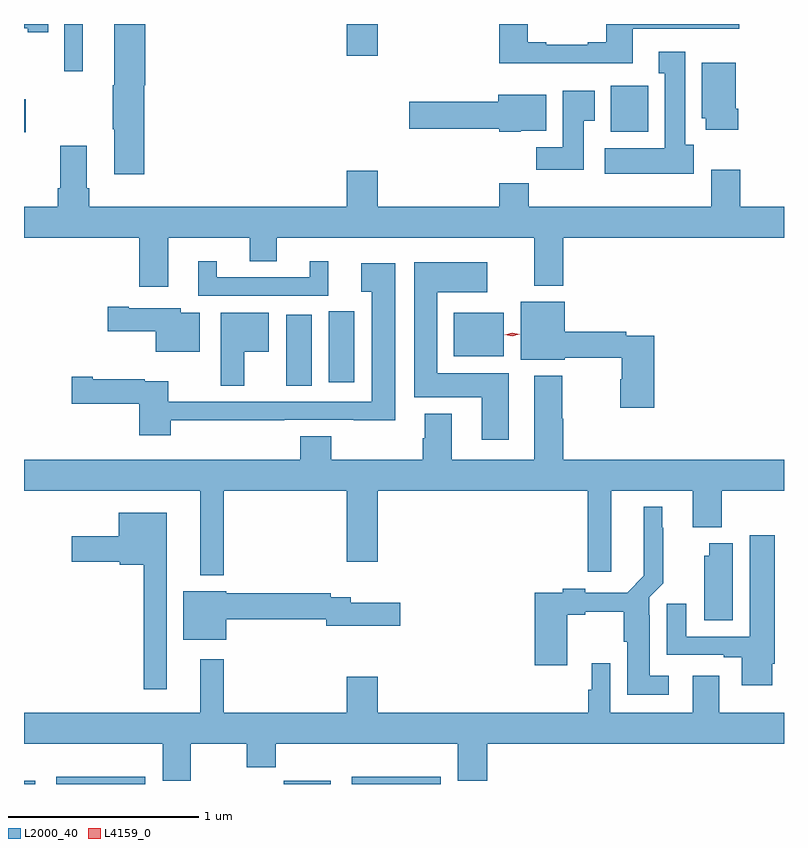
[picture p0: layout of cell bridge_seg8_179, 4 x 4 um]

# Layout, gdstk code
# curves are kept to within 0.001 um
import gdstk
lib = gdstk.Library(unit=1e-6, precision=1e-09)
def R(c, l, rs):  # rectangles x0, y0, x1, y1
    for r in rs: c.add(gdstk.rectangle(r[:2], r[2:], *l))
def P(c, l, *ps):  # polygons
    for p in ps: c.add(gdstk.Polygon(p, *l))
L2000_40 = (2000, 40)
L4159_0 = (4159, 0)

bridge_seg8_179 = lib.new_cell('bridge_seg8_179')
R(bridge_seg8_179, L2000_40, [(486.985,1096.309,487.045,1096.327), (487.155,1096.309,487.624,1096.348), (488.351,1096.309,488.599,1096.326), (488.709,1096.309,489.178,1096.348), (488.366,1098.406,488.5,1098.778), (488.588,1098.423,488.722,1098.798), (489.248,1098.56,489.511,1098.79), (486.985,1099.739,486.994,1099.913), (490.073,1099.742,490.27,1099.984), (487.197,1100.061,487.294,1100.309), (488.684,1100.142,488.848,1100.309)])
P(bridge_seg8_179, L2000_40, [(490.189,1100.283),(490.75,1100.283),(490.75,1100.309),(490.049,1100.309),(490.049,1100.212),(489.953,1100.212),(489.953,1100.199),(489.733,1100.199),(489.733,1100.212),(489.637,1100.212),(489.637,1100.309),(489.485,1100.309),(489.485,1100.102),(490.189,1100.102)],
  [(487.619,1099.986),(487.624,1099.986),(487.624,1100.309),(487.46,1100.309),(487.46,1099.986),(487.453,1099.986),(487.453,1099.756),(487.46,1099.756),(487.46,1099.518),(487.619,1099.518)],
  [(487.112,1100.309),(486.985,1100.309),(486.985,1100.286),(487.004,1100.286),(487.004,1100.266),(487.112,1100.266)],
  [(490.51,1099.674),(490.465,1099.674),(490.465,1100.164),(490.325,1100.164),(490.325,1100.051),(490.358,1100.051),(490.358,1099.654),(490.041,1099.654),(490.041,1099.52),(490.51,1099.52)],
  [(490.745,1099.864),(490.732,1099.864),(490.732,1100.104),(490.553,1100.104),(490.553,1099.812),(490.574,1099.812),(490.574,1099.752),(490.745,1099.752)],
  [(489.931,1099.801),(489.988,1099.801),(489.988,1099.957),(489.821,1099.957),(489.821,1099.66),(489.682,1099.66),(489.682,1099.542),(489.931,1099.542)],
  [(489.6,1099.748),(489.733,1099.748),(489.733,1099.936),(489.482,1099.936),(489.482,1099.901),(489.012,1099.901),(489.012,1099.759),(489.486,1099.759),(489.486,1099.742),(489.6,1099.742)],
  [(487.744,1099.184),(488.174,1099.184),(488.174,1099.06),(488.314,1099.06),(488.314,1099.184),(489.671,1099.184),(489.671,1098.932),(489.824,1098.932),(489.824,1099.184),(490.985,1099.184),(490.985,1099.348),(490.754,1099.348),(490.754,1099.543),(490.601,1099.543),(490.601,1099.348),(489.641,1099.348),(489.641,1099.472),(489.485,1099.472),(489.485,1099.348),(488.848,1099.348),(488.848,1099.537),(488.684,1099.537),(488.684,1099.348),(487.328,1099.348),(487.328,1099.444),(487.315,1099.444),(487.315,1099.669),(487.175,1099.669),(487.175,1099.444),(487.163,1099.444),(487.163,1099.348),(486.985,1099.348),(486.985,1099.184),(487.592,1099.184),(487.592,1098.927),(487.744,1098.927)],
  [(488.587,1099.06),(488.489,1099.06),(488.489,1098.975),(487.999,1098.975),(487.999,1099.06),(487.901,1099.06),(487.901,1098.879),(488.587,1098.879)],
  [(489.535,1098.472),(489.16,1098.472),(489.16,1098.896),(489.424,1098.896),(489.424,1099.054),(489.038,1099.054),(489.038,1098.344),(489.395,1098.344),(489.395,1098.12),(489.535,1098.12)],
  [(487.757,1098.224),(488.354,1098.224),(488.354,1098.225),(488.72,1098.225),(488.72,1098.224),(488.938,1098.224),(488.938,1099.051),(488.76,1099.051),(488.76,1098.899),(488.816,1098.899),(488.816,1098.321),(487.744,1098.321),(487.744,1098.43),(487.62,1098.43),(487.62,1098.439),(487.348,1098.439),(487.348,1098.452),(487.236,1098.452),(487.236,1098.31),(487.592,1098.31),(487.592,1098.144),(487.757,1098.144)],
  [(490.301,1098.669),(490.154,1098.669),(490.154,1098.689),(489.832,1098.689),(489.832,1098.847),(489.599,1098.847),(489.599,1098.542),(489.832,1098.542),(489.832,1098.553),(490.13,1098.553),(490.13,1098.438),(490.123,1098.438),(490.123,1098.288),(490.301,1098.288)],
  [(487.909,1098.79),(487.809,1098.79),(487.809,1098.814),(487.537,1098.814),(487.537,1098.822),(487.425,1098.822),(487.425,1098.692),(487.679,1098.692),(487.679,1098.584),(487.909,1098.584)],
  [(488.143,1098.584),(488.272,1098.584),(488.272,1098.79),(488.021,1098.79),(488.021,1098.406),(488.143,1098.406)],
  [(488.035,1097.852),(488.684,1097.852),(488.684,1097.478),(488.848,1097.478),(488.848,1097.852),(489.953,1097.852),(489.953,1097.427),(490.075,1097.427),(490.075,1097.852),(490.505,1097.852),(490.505,1097.66),(490.658,1097.66),(490.658,1097.852),(490.985,1097.852),(490.985,1098.016),(489.824,1098.016),(489.824,1098.231),(489.819,1098.231),(489.819,1098.457),(489.671,1098.457),(489.671,1098.016),(489.235,1098.016),(489.235,1098.259),(489.095,1098.259),(489.095,1098.128),(489.083,1098.128),(489.083,1098.016),(488.603,1098.016),(488.603,1098.14),(488.438,1098.14),(488.438,1098.016),(486.985,1098.016),(486.985,1097.852),(487.913,1097.852),(487.913,1097.408),(488.035,1097.408)],
  [(490.378,1096.879),(490.279,1096.879),(490.279,1097.198),(490.275,1097.198),(490.275,1097.292),(490.349,1097.366),(490.349,1097.657),(490.345,1097.657),(490.345,1097.767),(490.247,1097.767),(490.248,1097.404),(490.16,1097.316),(489.94,1097.316),(489.94,1097.336),(489.82,1097.336),(489.82,1097.316),(489.674,1097.316),(489.674,1096.935),(489.844,1096.935),(489.844,1097.2),(489.94,1097.2),(489.94,1097.215),(490.142,1097.215),(490.142,1097.058),(490.16,1097.058),(490.16,1096.778),(490.378,1096.778)],
  [(487.735,1097.737),(487.484,1097.737),(487.484,1097.614),(487.236,1097.614),(487.236,1097.48),(487.488,1097.48),(487.488,1097.462),(487.614,1097.462),(487.614,1096.809),(487.735,1096.809)],
  [(490.924,1096.942),(490.937,1096.942),(490.937,1097.617),(490.805,1097.617),(490.805,1097.085),(490.471,1097.085),(490.471,1097.257),(490.367,1097.257),(490.367,1096.989),(490.667,1096.989),(490.667,1096.977),(490.763,1096.977),(490.763,1096.83),(490.924,1096.83)],
  [(490.714,1097.575),(490.592,1097.575),(490.592,1097.511),(490.565,1097.511),(490.565,1097.17),(490.714,1097.17)],
  [(488.05,1097.176),(488.576,1097.176),(488.576,1097.141),(488.965,1097.141),(488.965,1097.263),(488.704,1097.263),(488.704,1097.292),(488.6,1097.292),(488.6,1097.312),(488.05,1097.312),(488.05,1097.323),(487.823,1097.323),(487.823,1097.069),(488.05,1097.069)],
  [(487.863,1096.52),(488.158,1096.52),(488.158,1096.396),(488.309,1096.396),(488.309,1096.52),(489.269,1096.52),(489.269,1096.326),(489.422,1096.326),(489.422,1096.52),(490.985,1096.52),(490.985,1096.684),(490.645,1096.684),(490.645,1096.879),(490.505,1096.879),(490.505,1096.684),(490.071,1096.684),(490.071,1096.945),(489.974,1096.945),(489.974,1096.806),(489.955,1096.806),(489.955,1096.684),(488.848,1096.684),(488.848,1096.873),(488.684,1096.873),(488.684,1096.684),(488.035,1096.684),(488.035,1096.966),(487.913,1096.966),(487.913,1096.684),(486.985,1096.684),(486.985,1096.52),(487.715,1096.52),(487.715,1096.326),(487.863,1096.326)])
P(bridge_seg8_179, L4159_0, [(489.554,1098.665),(489.516,1098.674),(489.516,1098.674),(489.516,1098.674),(489.554,1098.685),(489.593,1098.676),(489.593,1098.675),(489.593,1098.675)])

lib.write_gds('bridge_seg8_179.gds')
